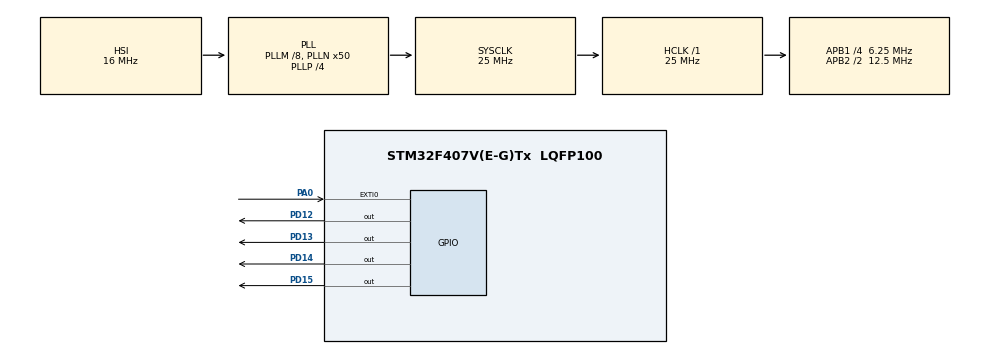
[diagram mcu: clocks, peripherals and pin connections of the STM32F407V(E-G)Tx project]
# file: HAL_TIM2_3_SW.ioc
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Mcu.Family=STM32F4
Mcu.Name=STM32F407V(E-G)Tx
Mcu.Package=LQFP100
NVIC.PriorityGroup=NVIC_PRIORITYGROUP_0
NVIC.TIM2_IRQn=true\:0\:0\:false\:false\:true\:true\:true\:true
NVIC.TIM3_IRQn=true\:0\:0\:false\:false\:true\:true\:true\:true
PA0-WKUP.Signal=GPXTI0
PD12.Signal=GPIO_Output
PD13.Signal=GPIO_Output
PD14.Signal=GPIO_Output
PD15.Signal=GPIO_Output
ProjectManager.HeapSize=0x200
ProjectManager.StackSize=0x400
ProjectManager.TargetToolchain=STM32CubeIDE
RCC.48MHZClocksFreq_Value=14285714.285714285
RCC.AHBFreq_Value=25000000
RCC.APB1CLKDivider=RCC_HCLK_DIV4
RCC.APB1Freq_Value=6250000
RCC.APB1TimFreq_Value=12500000
RCC.APB2CLKDivider=RCC_HCLK_DIV2
RCC.APB2Freq_Value=12500000
RCC.APB2TimFreq_Value=25000000
RCC.CortexFreq_Value=25000000
RCC.HCLKFreq_Value=25000000
RCC.HSE_VALUE=8000000
RCC.HSI_VALUE=16000000
RCC.LSE_VALUE=32768
RCC.PLLM=8
RCC.PLLN=50
RCC.PLLP=RCC_PLLP_DIV4
RCC.PLLQ=7
RCC.SYSCLKFreq_VALUE=25000000
RCC.SYSCLKSource=RCC_SYSCLKSOURCE_PLLCLK
RCC.VCOOutputFreq_Value=100000000
TIM2.Period=999
TIM2.Prescaler=12499
TIM3.Period=499
TIM3.Prescaler=12499
VP_TIM2_VS_ClockSourceINT.Mode=Internal
VP_TIM3_VS_ClockSourceINT.Mode=Internal
board=STM32F407G-DISC1

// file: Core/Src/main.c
/* USER CODE BEGIN Header */
/**
  ******************************************************************************
  * @file           : main.c
  * @brief          : Main program body
  ******************************************************************************
  * @attention
  *
  * Copyright (c) 2026 STMicroelectronics.
  * All rights reserved.
  *
  * This software is licensed under terms that can be found in the LICENSE file
  * in the root directory of this software component.
  * If no LICENSE file comes with this software, it is provided AS-IS.
  *
  ******************************************************************************
  */
/* USER CODE END Header */
#include "main.h"

/* USER CODE BEGIN PD */
volatile uint8_t led_toggle_enable = 0;
/* USER CODE END PD */

TIM_HandleTypeDef htim2;
TIM_HandleTypeDef htim3;

void SystemClock_Config(void);
static void MX_GPIO_Init(void);
static void MX_TIM2_Init(void);
static void MX_TIM3_Init(void);

/* USER CODE BEGIN 0 */
void HAL_TIM_PeriodElapsedCallback(TIM_HandleTypeDef *htim)
{
	if(htim->Instance == TIM2)
	{
		HAL_GPIO_TogglePin(GPIOD, GPIO_PIN_14);
	}
	else if(htim ->Instance == TIM3)
	{
		HAL_GPIO_TogglePin(GPIOD, GPIO_PIN_15);
	}
}

void HAL_GPIO_EXTI_Callback(uint16_t GPIO_Pin)
{
	if(GPIO_Pin == GPIO_PIN_0)
	{
		led_toggle_enable = !led_toggle_enable;

		if(led_toggle_enable)
		{
			HAL_TIM_Base_Start_IT(&htim3);
		}
		else
		{
			HAL_TIM_Base_Stop_IT(&htim3);
			HAL_GPIO_WritePin(GPIOD, GPIO_PIN_15, GPIO_PIN_RESET);
		}
	}
}

void EXTI0_IRQHandler(void)
{
    HAL_GPIO_EXTI_IRQHandler(GPIO_PIN_0);
}
/* USER CODE END 0 */

int main(void)
{

  /* MCU Configuration--------------------------------------------------------*/

  /* Reset of all peripherals, Initializes the Flash interface and the Systick. */
  HAL_Init();

  /* Configure the system clock */
  SystemClock_Config();

  /* Initialize all configured peripherals */
  MX_GPIO_Init();
  MX_TIM2_Init();
  MX_TIM3_Init();
  /* USER CODE BEGIN 2 */
  HAL_TIM_Base_Start_IT(&htim2);
  HAL_NVIC_SetPriority(EXTI0_IRQn, 0, 0);
  HAL_NVIC_EnableIRQ(EXTI0_IRQn);
  /* USER CODE END 2 */

  /* Infinite loop */
  while (1)
  {

  }
}

void SystemClock_Config(void)
{
  RCC_OscInitTypeDef RCC_OscInitStruct = {0};
  RCC_ClkInitTypeDef RCC_ClkInitStruct = {0};

  /** Configure the main internal regulator output voltage
  */
  __HAL_RCC_PWR_CLK_ENABLE();
  __HAL_PWR_VOLTAGESCALING_CONFIG(PWR_REGULATOR_VOLTAGE_SCALE1);

  /** Initializes the RCC Oscillators according to the specified parameters
  * in the RCC_OscInitTypeDef structure.
  */
  RCC_OscInitStruct.OscillatorType = RCC_OSCILLATORTYPE_HSI;
  RCC_OscInitStruct.HSIState = RCC_HSI_ON;
  RCC_OscInitStruct.HSICalibrationValue = RCC_HSICALIBRATION_DEFAULT;
  RCC_OscInitStruct.PLL.PLLState = RCC_PLL_ON;
  RCC_OscInitStruct.PLL.PLLSource = RCC_PLLSOURCE_HSI;
  RCC_OscInitStruct.PLL.PLLM = 8;
  RCC_OscInitStruct.PLL.PLLN = 50;
  RCC_OscInitStruct.PLL.PLLP = RCC_PLLP_DIV4;
  RCC_OscInitStruct.PLL.PLLQ = 7;
  if (HAL_RCC_OscConfig(&RCC_OscInitStruct) != HAL_OK)
  {
    Error_Handler();
  }

  /** Initializes the CPU, AHB and APB buses clocks
  */
  RCC_ClkInitStruct.ClockType = RCC_CLOCKTYPE_HCLK|RCC_CLOCKTYPE_SYSCLK
                              |RCC_CLOCKTYPE_PCLK1|RCC_CLOCKTYPE_PCLK2;
  RCC_ClkInitStruct.SYSCLKSource = RCC_SYSCLKSOURCE_PLLCLK;
  RCC_ClkInitStruct.AHBCLKDivider = RCC_SYSCLK_DIV1;
  RCC_ClkInitStruct.APB1CLKDivider = RCC_HCLK_DIV4;
  RCC_ClkInitStruct.APB2CLKDivider = RCC_HCLK_DIV2;

  if (HAL_RCC_ClockConfig(&RCC_ClkInitStruct, FLASH_LATENCY_0) != HAL_OK)
  {
    Error_Handler();
  }
}

static void MX_TIM2_Init(void)
{

  TIM_ClockConfigTypeDef sClockSourceConfig = {0};
  TIM_MasterConfigTypeDef sMasterConfig = {0};

  htim2.Instance = TIM2;
  htim2.Init.Prescaler = 12499;
  htim2.Init.CounterMode = TIM_COUNTERMODE_UP;
  htim2.Init.Period = 999;
  htim2.Init.ClockDivision = TIM_CLOCKDIVISION_DIV1;
  htim2.Init.AutoReloadPreload = TIM_AUTORELOAD_PRELOAD_DISABLE;
  if (HAL_TIM_Base_Init(&htim2) != HAL_OK)
  {
    Error_Handler();
  }
  sClockSourceConfig.ClockSource = TIM_CLOCKSOURCE_INTERNAL;
  if (HAL_TIM_ConfigClockSource(&htim2, &sClockSourceConfig) != HAL_OK)
  {
    Error_Handler();
  }
  sMasterConfig.MasterOutputTrigger = TIM_TRGO_RESET;
  sMasterConfig.MasterSlaveMode = TIM_MASTERSLAVEMODE_DISABLE;
  if (HAL_TIMEx_MasterConfigSynchronization(&htim2, &sMasterConfig) != HAL_OK)
  {
    Error_Handler();
  }

}

static void MX_TIM3_Init(void)
{

  TIM_ClockConfigTypeDef sClockSourceConfig = {0};
  TIM_MasterConfigTypeDef sMasterConfig = {0};

  htim3.Instance = TIM3;
  htim3.Init.Prescaler = 12499;
  htim3.Init.CounterMode = TIM_COUNTERMODE_UP;
  htim3.Init.Period = 499;
  htim3.Init.ClockDivision = TIM_CLOCKDIVISION_DIV1;
  htim3.Init.AutoReloadPreload = TIM_AUTORELOAD_PRELOAD_DISABLE;
  if (HAL_TIM_Base_Init(&htim3) != HAL_OK)
  {
    Error_Handler();
  }
  sClockSourceConfig.ClockSource = TIM_CLOCKSOURCE_INTERNAL;
  if (HAL_TIM_ConfigClockSource(&htim3, &sClockSourceConfig) != HAL_OK)
  {
    Error_Handler();
  }
  sMasterConfig.MasterOutputTrigger = TIM_TRGO_RESET;
  sMasterConfig.MasterSlaveMode = TIM_MASTERSLAVEMODE_DISABLE;
  if (HAL_TIMEx_MasterConfigSynchronization(&htim3, &sMasterConfig) != HAL_OK)
  {
    Error_Handler();
  }

}

static void MX_GPIO_Init(void)
{
  GPIO_InitTypeDef GPIO_InitStruct = {0};

  /* GPIO Ports Clock Enable */
  __HAL_RCC_GPIOA_CLK_ENABLE();
  __HAL_RCC_GPIOD_CLK_ENABLE();

  /*Configure GPIO pin Output Level */
  HAL_GPIO_WritePin(GPIOD, GPIO_PIN_12|GPIO_PIN_13|GPIO_PIN_14|GPIO_PIN_15, GPIO_PIN_RESET);

  /*Configure GPIO pin : PA0 */
  GPIO_InitStruct.Pin = GPIO_PIN_0;
  GPIO_InitStruct.Mode = GPIO_MODE_IT_RISING;
  GPIO_InitStruct.Pull = GPIO_NOPULL;
  HAL_GPIO_Init(GPIOA, &GPIO_InitStruct);

  /*Configure GPIO pins : PD12 PD13 PD14 PD15 */
  GPIO_InitStruct.Pin = GPIO_PIN_12|GPIO_PIN_13|GPIO_PIN_14|GPIO_PIN_15;
  GPIO_InitStruct.Mode = GPIO_MODE_OUTPUT_PP;
  GPIO_InitStruct.Pull = GPIO_NOPULL;
  GPIO_InitStruct.Speed = GPIO_SPEED_FREQ_LOW;
  HAL_GPIO_Init(GPIOD, &GPIO_InitStruct);

}

void Error_Handler(void)
{
  __disable_irq();
  while (1)
  {
  }
}
